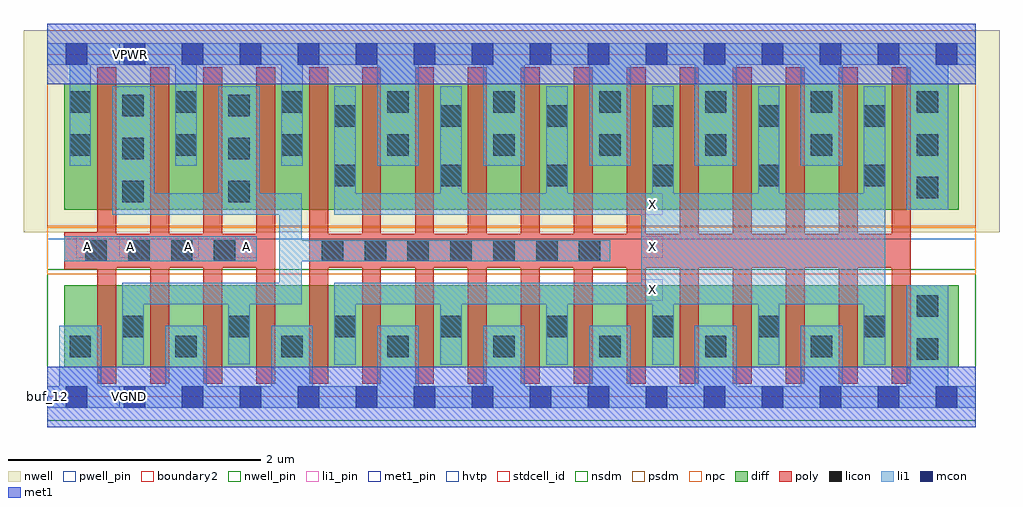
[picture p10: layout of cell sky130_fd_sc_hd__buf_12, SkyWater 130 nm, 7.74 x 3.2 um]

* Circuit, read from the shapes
.subckt sky130_fd_sc_hd__buf_12 A VGND VNB VPB VPWR X
XM1 n1 A VGND VNB sky130_fd_pr__nfet_01v8 w=0.65 l=0.15 m=4
XM2 X n1 VGND VNB sky130_fd_pr__nfet_01v8 w=0.65 l=0.15 m=12
XM3 n1 A VPWR VPB sky130_fd_pr__pfet_01v8_hvt w=1 l=0.15 m=4
XM4 X n1 VPWR VPB sky130_fd_pr__pfet_01v8_hvt w=1 l=0.15 m=12
.ends

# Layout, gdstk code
import gdstk
lib = gdstk.Library(unit=1e-6, precision=1e-09)
def R(c, l, rs):  # rectangles x0, y0, x1, y1
    for r in rs: c.add(gdstk.rectangle(r[:2], r[2:], *l))
def A(c, l, x, y, w, h, nx, ny, dx, dy):  # array of equal rectangles
    R(c, l, [(x+i*dx, y+j*dy, x+i*dx+w, y+j*dy+h) for i in range(nx) for j in range(ny)])
def P(c, l, *ps):  # polygons
    for p in ps: c.add(gdstk.Polygon(p, *l))
nwell_pin = (64, 16)
nwell = (64, 20)
diff = (65, 20)
poly = (66, 20)
licon = (66, 44)
li1_pin = (67, 16)
li1 = (67, 20)
mcon = (67, 44)
met1_pin = (68, 16)
met1 = (68, 20)
hvtp = (78, 44)
stdcell_id = (81, 4)
nsdm = (93, 44)
psdm = (94, 20)
npc = (95, 20)
pwell_pin = (122, 16)
boundary2 = (236, 0)

sky130_fd_sc_hd__buf_12 = lib.new_cell('sky130_fd_sc_hd__buf_12')
R(sky130_fd_sc_hd__buf_12, nwell_pin, [(0.57,2.635,0.74,2.805)])
R(sky130_fd_sc_hd__buf_12, nwell, [(-0.19,1.305,7.55,2.91)])
R(sky130_fd_sc_hd__buf_12, diff, [(0.135,0.235,7.225,0.885), (0.135,1.485,7.225,2.485)])
P(sky130_fd_sc_hd__buf_12, poly, [(6.845,2.615),(6.695,2.615),(6.695,1.295),(6.425,1.295),(6.425,2.615),(6.275,2.615),(6.275,1.295),(6.005,1.295),(6.005,2.615),(5.855,2.615),(5.855,1.295),(5.585,1.295),(5.585,2.615),(5.435,2.615),(5.435,1.295),(5.165,1.295),(5.165,2.615),(5.015,2.615),(5.015,1.295),(4.745,1.295),(4.745,2.615),(4.595,2.615),(4.595,1.295),(4.325,1.295),(4.325,2.615),(4.175,2.615),(4.175,1.295),(3.905,1.295),(3.905,2.615),(3.755,2.615),(3.755,1.295),(3.485,1.295),(3.485,2.615),(3.335,2.615),(3.335,1.295),(3.065,1.295),(3.065,2.615),(2.915,2.615),(2.915,1.295),(2.645,1.295),(2.645,2.615),(2.495,2.615),(2.495,1.295),(2.225,1.295),(2.225,2.615),(2.075,2.615),(2.075,0.105),(2.225,0.105),(2.225,1.025),(2.495,1.025),(2.495,0.105),(2.645,0.105),(2.645,1.025),(2.915,1.025),(2.915,0.105),(3.065,0.105),(3.065,1.025),(3.335,1.025),(3.335,0.105),(3.485,0.105),(3.485,1.025),(3.755,1.025),(3.755,0.105),(3.905,0.105),(3.905,1.025),(4.175,1.025),(4.175,0.105),(4.325,0.105),(4.325,1.025),(4.595,1.025),(4.595,0.105),(4.745,0.105),(4.745,1.025),(5.015,1.025),(5.015,0.105),(5.165,0.105),(5.165,1.025),(5.435,1.025),(5.435,0.105),(5.585,0.105),(5.585,1.025),(5.855,1.025),(5.855,0.105),(6.005,0.105),(6.005,1.025),(6.275,1.025),(6.275,0.105),(6.425,0.105),(6.425,1.025),(6.695,1.025),(6.695,0.105),(6.845,0.105)],
  [(1.805,2.615),(1.655,2.615),(1.655,1.295),(1.385,1.295),(1.385,2.615),(1.235,2.615),(1.235,1.295),(0.965,1.295),(0.965,2.615),(0.815,2.615),(0.815,1.295),(0.545,1.295),(0.545,2.615),(0.395,2.615),(0.395,1.305),(0.135,1.305),(0.135,1.015),(0.395,1.015),(0.395,0.105),(0.545,0.105),(0.545,1.025),(0.815,1.025),(0.815,0.105),(0.965,0.105),(0.965,1.025),(1.235,1.025),(1.235,0.105),(1.385,0.105),(1.385,1.025),(1.655,1.025),(1.655,0.105),(1.805,0.105)])
A(sky130_fd_sc_hd__buf_12, licon, 0.175, 0.315, 0.17, 0.17, 8, 1, 0.84, 0)
A(sky130_fd_sc_hd__buf_12, licon, 0.595, 0.475, 0.17, 0.17, 8, 1, 0.84, 0)
A(sky130_fd_sc_hd__buf_12, licon, 0.3, 1.075, 0.17, 0.17, 4, 1, 0.34, 0)
A(sky130_fd_sc_hd__buf_12, licon, 2.175, 1.075, 0.17, 0.17, 7, 1, 0.34, 0)
A(sky130_fd_sc_hd__buf_12, licon, 0.595, 1.545, 0.17, 0.17, 1, 3, 0, 0.34)
A(sky130_fd_sc_hd__buf_12, licon, 1.435, 1.545, 0.17, 0.17, 1, 3, 0, 0.34)
A(sky130_fd_sc_hd__buf_12, licon, 2.275, 1.67, 0.17, 0.17, 6, 2, 0.84, 0.475)
A(sky130_fd_sc_hd__buf_12, licon, 0.175, 1.915, 0.17, 0.17, 9, 2, 0.84, 0.34)
R(sky130_fd_sc_hd__buf_12, licon, [(6.895,0.295,7.065,0.465), (6.895,0.635,7.065,0.805), (6.895,1.575,7.065,1.745)])
A(sky130_fd_sc_hd__buf_12, li1_pin, 4.71, 0.765, 0.17, 0.17, 1, 3, 0, 0.34)
A(sky130_fd_sc_hd__buf_12, li1_pin, 0.57, 1.105, 0.17, 0.17, 3, 1, 0.46, 0)
R(sky130_fd_sc_hd__buf_12, li1_pin, [(0.57,-0.085,0.74,0.085), (0.23,1.105,0.4,1.275), (0.57,2.635,0.74,2.805)])
R(sky130_fd_sc_hd__buf_12, li1, [(0.135,1.075,1.66,1.275)])
P(sky130_fd_sc_hd__buf_12, li1, [(4.465,1.245),(2.015,1.245),(2.015,1.615),(1.685,1.615),(1.685,2.465),(1.355,2.465),(1.355,1.615),(0.845,1.615),(0.845,2.465),(0.515,2.465),(0.515,1.445),(1.84,1.445),(1.84,0.905),(0.595,0.905),(0.595,0.255),(0.765,0.255),(0.765,0.735),(1.435,0.735),(1.435,0.26),(1.605,0.26),(1.605,0.735),(2.015,0.735),(2.015,1.075),(4.465,1.075)],
  [(7.36,0.085),(7.145,0.085),(7.145,0.885),(6.815,0.885),(6.815,0.085),(6.305,0.085),(6.305,0.565),(5.975,0.565),(5.975,0.085),(5.465,0.085),(5.465,0.565),(5.135,0.565),(5.135,0.085),(4.625,0.085),(4.625,0.565),(4.295,0.565),(4.295,0.085),(3.785,0.085),(3.785,0.565),(3.455,0.565),(3.455,0.085),(2.945,0.085),(2.945,0.565),(2.615,0.565),(2.615,0.085),(2.105,0.085),(2.105,0.565),(1.775,0.565),(1.775,0.085),(1.265,0.085),(1.265,0.565),(0.935,0.565),(0.935,0.085),(0.425,0.085),(0.425,0.565),(0.095,0.565),(0.095,0.085),(0,0.085),(0,-0.085),(7.36,-0.085)],
  [(6.645,2.465),(6.475,2.465),(6.475,1.615),(5.805,1.615),(5.805,2.465),(5.635,2.465),(5.635,1.615),(4.965,1.615),(4.965,2.465),(4.795,2.465),(4.795,1.615),(4.125,1.615),(4.125,2.465),(3.955,2.465),(3.955,1.615),(3.285,1.615),(3.285,2.465),(3.115,2.465),(3.115,1.615),(2.445,1.615),(2.445,2.465),(2.275,2.465),(2.275,1.445),(4.71,1.445),(4.71,0.905),(2.275,0.905),(2.275,0.255),(2.445,0.255),(2.445,0.735),(3.115,0.735),(3.115,0.255),(3.285,0.255),(3.285,0.735),(3.955,0.735),(3.955,0.255),(4.125,0.255),(4.125,0.735),(4.795,0.735),(4.795,0.255),(4.965,0.255),(4.965,0.735),(5.635,0.735),(5.635,0.255),(5.805,0.255),(5.805,0.735),(6.475,0.735),(6.475,0.255),(6.645,0.255)],
  [(7.36,2.805),(0,2.805),(0,2.635),(0.175,2.635),(0.175,1.835),(0.345,1.835),(0.345,2.635),(1.015,2.635),(1.015,1.835),(1.185,1.835),(1.185,2.635),(1.855,2.635),(1.855,1.835),(2.025,1.835),(2.025,2.635),(2.615,2.635),(2.615,1.835),(2.945,1.835),(2.945,2.635),(3.455,2.635),(3.455,1.835),(3.785,1.835),(3.785,2.635),(4.295,2.635),(4.295,1.835),(4.625,1.835),(4.625,2.635),(5.135,2.635),(5.135,1.835),(5.465,1.835),(5.465,2.635),(5.975,2.635),(5.975,1.835),(6.305,1.835),(6.305,2.635),(6.815,2.635),(6.815,1.485),(7.145,1.485),(7.145,2.635),(7.36,2.635)])
A(sky130_fd_sc_hd__buf_12, mcon, 0.145, -0.085, 0.17, 0.17, 16, 2, 0.46, 2.72)
R(sky130_fd_sc_hd__buf_12, met1_pin, [(0.57,-0.085,0.74,0.085), (0.57,2.635,0.74,2.805)])
R(sky130_fd_sc_hd__buf_12, hvtp, [(0,1.25,7.36,2.72)])
R(sky130_fd_sc_hd__buf_12, stdcell_id, [(0,0,7.36,2.72)])
R(sky130_fd_sc_hd__buf_12, nsdm, [(0,-0.19,7.36,1.015)])
R(sky130_fd_sc_hd__buf_12, psdm, [(0,1.355,7.36,2.91)])
R(sky130_fd_sc_hd__buf_12, npc, [(0,0.975,7.36,1.345)])
R(sky130_fd_sc_hd__buf_12, pwell_pin, [(0.57,-0.085,0.74,0.085)])
R(sky130_fd_sc_hd__buf_12, boundary2, [(0,0,7.36,2.72)])
sky130_fd_sc_hd__buf_12.add(gdstk.FlexPath([(0,2.72),(7.36,2.72)], 0.48, ends="flush", simple_path=True, layer=68, datatype=20))  # met1
sky130_fd_sc_hd__buf_12.add(gdstk.FlexPath([(0,0),(7.36,0)], 0.48, ends="flush", simple_path=True, layer=68, datatype=20))  # met1
sky130_fd_sc_hd__buf_12.add(gdstk.Label('A', (1.575,1.19), layer=67, texttype=5))
sky130_fd_sc_hd__buf_12.add(gdstk.Label('X', (4.795,0.85), layer=67, texttype=5))
sky130_fd_sc_hd__buf_12.add(gdstk.Label('X', (4.795,1.19), layer=67, texttype=5))
sky130_fd_sc_hd__buf_12.add(gdstk.Label('A', (1.115,1.19), layer=67, texttype=5))
sky130_fd_sc_hd__buf_12.add(gdstk.Label('VGND', (0.65,0), layer=67, texttype=5))
sky130_fd_sc_hd__buf_12.add(gdstk.Label('VPWR', (0.655,2.72), layer=67, texttype=5))
sky130_fd_sc_hd__buf_12.add(gdstk.Label('X', (4.795,1.53), layer=67, texttype=5))
sky130_fd_sc_hd__buf_12.add(gdstk.Label('A', (0.655,1.19), layer=67, texttype=5))
sky130_fd_sc_hd__buf_12.add(gdstk.Label('A', (0.315,1.19), layer=67, texttype=5))
sky130_fd_sc_hd__buf_12.add(gdstk.Label('VPB', (0.655,2.72), layer=64, texttype=5))
sky130_fd_sc_hd__buf_12.add(gdstk.Label('VNB', (0.655,0), layer=64, texttype=59))
sky130_fd_sc_hd__buf_12.add(gdstk.Label('VGND', (0.65,0), layer=68, texttype=5))
sky130_fd_sc_hd__buf_12.add(gdstk.Label('VPWR', (0.655,2.72), layer=68, texttype=5))
sky130_fd_sc_hd__buf_12.add(gdstk.Label('buf_12', (0,0), layer=83, texttype=44))

lib.write_gds('sky130_fd_sc_hd__buf_12.gds')
